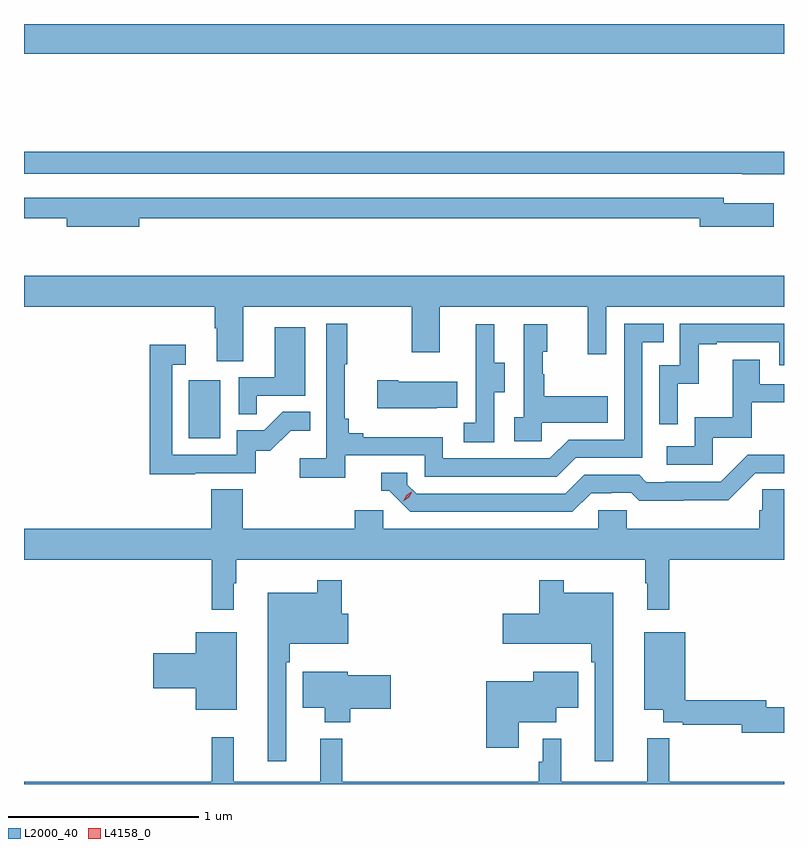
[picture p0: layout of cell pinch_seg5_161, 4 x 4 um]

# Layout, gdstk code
import gdstk
lib = gdstk.Library(unit=1e-6, precision=1e-09)
def R(c, l, rs):  # rectangles x0, y0, x1, y1
    for r in rs: c.add(gdstk.rectangle(r[:2], r[2:], *l))
def P(c, l, *ps):  # polygons
    for p in ps: c.add(gdstk.Polygon(p, *l))
L2000_40 = (2000, 40)
L4158_0 = (4158, 0)

pinch_seg5_161 = lib.new_cell('pinch_seg5_161')
R(pinch_seg5_161, L2000_40, [(1083.734,877.38,1083.898,877.687), (1082.866,879.404,1086.866,879.561)])
P(pinch_seg5_161, L2000_40, [(1086.866,878.888),(1082.866,878.888),(1082.866,878.772),(1086.646,878.772),(1086.646,878.771),(1086.866,878.771)],
  [(1083.472,878.538),(1086.422,878.538),(1086.422,878.495),(1086.811,878.495),(1086.811,878.617),(1086.55,878.617),(1086.55,878.646),(1082.866,878.646),(1082.866,878.538),(1083.092,878.538),(1083.092,878.495),(1083.472,878.495)],
  [(1084.021,878.072),(1084.906,878.072),(1084.906,877.833),(1085.053,877.833),(1085.053,878.072),(1085.834,878.072),(1085.834,877.824),(1085.931,877.824),(1085.931,878.072),(1086.866,878.072),(1086.866,878.236),(1082.866,878.236),(1082.866,878.072),(1083.869,878.072),(1083.869,877.96),(1083.881,877.96),(1083.881,877.786),(1084.021,877.786)],
  [(1084.556,877.29),(1084.974,877.29),(1084.974,877.179),(1085.671,877.179),(1085.77,877.278),(1086.12,877.278),(1086.12,877.887),(1086.233,877.887),(1086.233,877.983),(1086.024,877.983),(1086.024,877.374),(1085.733,877.374),(1085.634,877.275),(1085.07,877.275),(1085.07,877.387),(1084.651,877.387),(1084.651,877.406),(1084.574,877.406),(1084.574,877.483),(1084.555,877.483),(1084.555,877.771),(1084.567,877.771),(1084.567,877.984),(1084.458,877.984),(1084.458,877.276),(1084.317,877.276),(1084.317,877.174),(1084.556,877.174)],
  [(1086.306,877.667),(1086.416,877.667),(1086.416,877.875),(1086.511,877.875),(1086.511,877.887),(1086.84,877.887),(1086.84,877.764),(1086.866,877.764),(1086.866,877.983),(1086.318,877.983),(1086.318,877.764),(1086.21,877.764),(1086.21,877.455),(1086.306,877.455)],
  [(1085.34,877.624),(1085.395,877.624),(1085.395,877.779),(1085.341,877.779),(1085.341,877.981),(1085.243,877.981),(1085.243,877.767),(1085.244,877.767),(1085.244,877.463),(1085.181,877.463),(1085.181,877.36),(1085.34,877.36)],
  [(1085.592,877.463),(1085.939,877.463),(1085.939,877.603),(1085.605,877.603),(1085.605,877.718),(1085.595,877.718),(1085.595,877.836),(1085.62,877.836),(1085.62,877.981),(1085.496,877.981),(1085.496,877.49),(1085.445,877.49),(1085.445,877.365),(1085.592,877.365)],
  [(1084.091,877.605),(1084.345,877.605),(1084.345,877.966),(1084.187,877.966),(1084.187,877.701),(1083.996,877.701),(1083.996,877.507),(1084.091,877.507)],
  [(1083.767,877.197),(1084.086,877.197),(1084.086,877.314),(1084.162,877.314),(1084.269,877.421),(1084.373,877.421),(1084.373,877.52),(1084.229,877.52),(1084.131,877.422),(1083.987,877.422),(1083.987,877.293),(1083.645,877.293),(1083.645,877.767),(1083.718,877.767),(1083.718,877.873),(1083.529,877.873),(1083.529,877.192),(1083.767,877.192)],
  [(1086.492,877.383),(1086.697,877.383),(1086.697,877.569),(1086.866,877.569),(1086.866,877.665),(1086.739,877.665),(1086.739,877.795),(1086.595,877.795),(1086.595,877.492),(1086.396,877.492),(1086.396,877.338),(1086.249,877.338),(1086.249,877.242),(1086.492,877.242)],
  [(1085.039,877.541),(1085.147,877.541),(1085.147,877.678),(1084.837,877.678),(1084.837,877.686),(1084.725,877.686),(1084.725,877.538),(1085.039,877.538)],
  [(1085.851,877.092),(1085.958,877.092),(1085.958,877.095),(1086.061,877.095),(1086.103,877.053),(1086.336,877.053),(1086.336,877.055),(1086.572,877.055),(1086.714,877.197),(1086.866,877.197),(1086.866,877.293),(1086.675,877.293),(1086.534,877.152),(1086.241,877.152),(1086.241,877.149),(1086.142,877.149),(1086.103,877.188),(1085.814,877.188),(1085.715,877.089),(1084.932,877.089),(1084.884,877.137),(1084.884,877.2),(1084.745,877.2),(1084.745,877.104),(1084.788,877.104),(1084.899,876.993),(1085.752,876.993)],
  [(1083.97,876.617),(1083.982,876.617),(1083.982,876.74),(1086.135,876.74),(1086.135,876.617),(1086.146,876.617),(1086.146,876.477),(1086.263,876.477),(1086.263,876.74),(1086.866,876.74),(1086.866,877.112),(1086.751,877.112),(1086.751,877.002),(1086.737,877.002),(1086.737,876.904),(1086.039,876.904),(1086.039,877.002),(1085.889,877.002),(1085.889,876.904),(1084.758,876.904),(1084.758,877.002),(1084.607,877.002),(1084.607,876.904),(1084.016,876.904),(1084.016,877.112),(1083.851,877.112),(1083.851,876.904),(1082.866,876.904),(1082.866,876.74),(1083.853,876.74),(1083.853,876.477),(1083.97,876.477)],
  [(1085.968,876.568),(1085.707,876.568),(1085.707,876.634),(1085.578,876.634),(1085.578,876.457),(1085.385,876.457),(1085.385,876.299),(1085.851,876.299),(1085.851,876.203),(1085.871,876.203),(1085.871,875.682),(1085.968,875.682)],
  [(1084.245,876.203),(1084.265,876.203),(1084.265,876.299),(1084.573,876.299),(1084.573,876.457),(1084.538,876.457),(1084.538,876.634),(1084.41,876.634),(1084.41,876.568),(1084.148,876.568),(1084.148,875.682),(1084.245,875.682)],
  [(1083.985,876.361),(1083.77,876.361),(1083.77,876.248),(1083.546,876.248),(1083.546,876.065),(1083.77,876.065),(1083.77,875.951),(1083.985,875.951)],
  [(1086.866,875.966),(1086.772,875.966),(1086.772,876.002),(1086.346,876.002),(1086.346,876.361),(1086.131,876.361),(1086.131,875.951),(1086.23,875.951),(1086.23,875.886),(1086.334,875.886),(1086.334,875.874),(1086.644,875.874),(1086.644,875.831),(1086.866,875.831)],
  [(1085.47,875.885),(1085.668,875.885),(1085.668,875.963),(1085.782,875.963),(1085.782,876.151),(1085.546,876.151),(1085.546,876.103),(1085.3,876.103),(1085.3,875.751),(1085.47,875.751)],
  [(1084.583,875.956),(1084.795,875.956),(1084.795,876.134),(1084.57,876.134),(1084.57,876.151),(1084.334,876.151),(1084.334,875.963),(1084.448,875.963),(1084.448,875.885),(1084.583,875.885)],
  [(1086.866,875.572),(1086.263,875.572),(1086.263,875.801),(1086.146,875.801),(1086.146,875.572),(1085.693,875.572),(1085.693,875.8),(1085.595,875.8),(1085.595,875.679),(1085.575,875.679),(1085.575,875.572),(1084.541,875.572),(1084.541,875.8),(1084.424,875.8),(1084.424,875.572),(1083.971,875.572),(1083.971,875.806),(1083.853,875.806),(1083.853,875.572),(1082.866,875.572),(1082.866,875.561),(1086.866,875.561)])
P(pinch_seg5_161, L4158_0, [(1084.862,877.049),(1084.862,877.05),(1084.879,877.082),(1084.909,877.102),(1084.91,877.102),(1084.91,877.101),(1084.894,877.069),(1084.863,877.049)])

lib.write_gds('pinch_seg5_161.gds')
